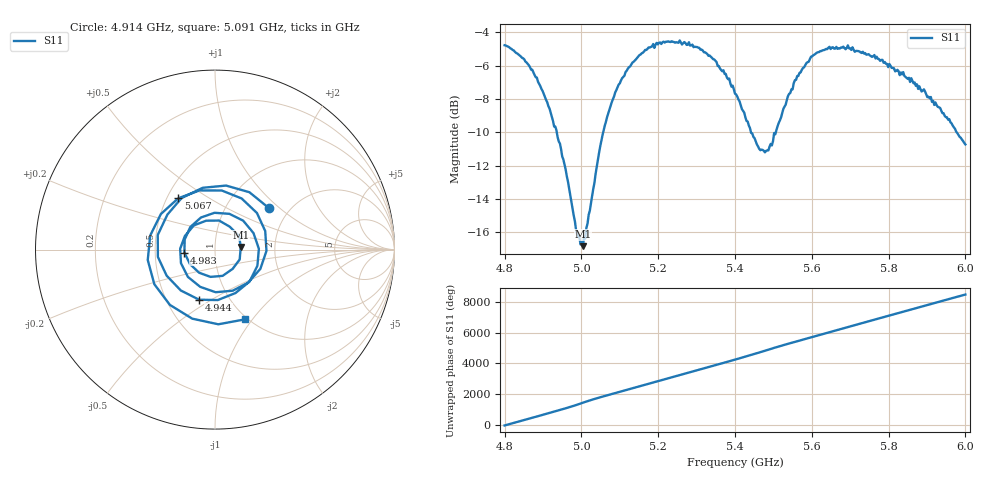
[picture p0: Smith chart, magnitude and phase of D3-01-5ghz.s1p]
! NanoVNA-App
! Date: 2026-05-22 18:43:44
! Start: 4.8GHz Stop: 6GHz Points: 401
! S-Parameter data: F S11
# Hz S RI R 50
!  Frequency  S11_Real  S11_Imag
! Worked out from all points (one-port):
!   401 points, 4.8 GHz to 6 GHz, reference 50 ohm
!   lowest |S11| = -16.8 dB at 5.004 GHz (marker M1), VSWR 1.34, Z = 66.7 + j1.98 ohm
!   |S11| at or under -10 dB: 4.936 GHz to 5.057 GHz (120.7 MHz wide, 2.42 % of centre); 5.442 GHz to 5.506 GHz (64.67 MHz wide, 1.18 % of centre); 5.977407 GHz to end of sweep
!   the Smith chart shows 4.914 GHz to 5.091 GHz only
!   S11 on the Smith chart (normalised r, x): 4.914 GHz: 1.57, +0.85; 4.944 GHz: 0.72, -0.44; 4.983 GHz: 0.71, -0.02; 5.067 GHz: 0.57, +0.37; 5.091 GHz: 0.97, -0.92
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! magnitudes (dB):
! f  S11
! 4.8 GHz  -4.8
! 4.866 GHz  -6.1
! 4.914 GHz  -8.4
! 4.944 GHz  -10.7
! 4.95 GHz  -11.4
! 4.983 GHz  -15.3
! 4.992 GHz  -16.2
! 5.004 GHz  -16.8
! 5.016 GHz  -15.5
! 5.052 GHz  -10.5
! 5.067 GHz  -9.1
! 5.091 GHz  -7.5
! 5.1 GHz  -7.1
! 5.127 GHz  -6.0
! 5.172 GHz  -5.0
! 5.25 GHz  -4.6
! 5.34 GHz  -5.5
! 5.4 GHz  -7.7
! 5.46 GHz  -10.8
! 5.481 GHz  -11.1
! 5.493 GHz  -10.7
! 5.55 GHz  -7.4
! 5.61 GHz  -5.3
! 5.7 GHz  -5.0
! 5.769 GHz  -5.5
! 5.85 GHz  -6.8
! 5.928 GHz  -8.5
! 6 GHz  -10.7
